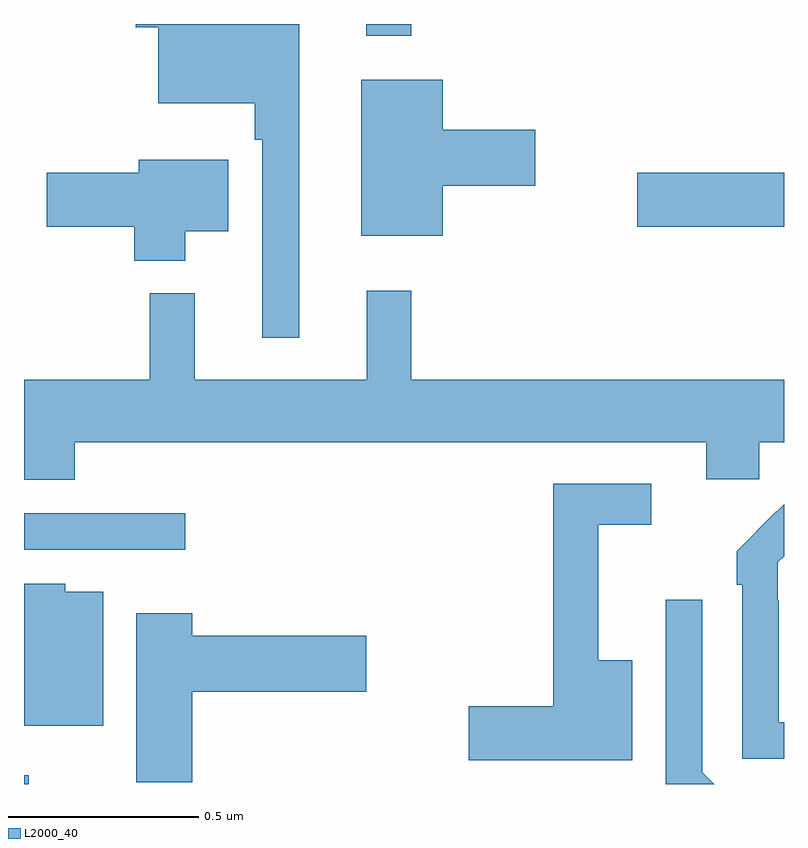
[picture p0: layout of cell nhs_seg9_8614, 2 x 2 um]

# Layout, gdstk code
import gdstk
lib = gdstk.Library(unit=1e-6, precision=1e-09)
def R(c, l, rs):  # rectangles x0, y0, x1, y1
    for r in rs: c.add(gdstk.rectangle(r[:2], r[2:], *l))
def P(c, l, *ps):  # polygons
    for p in ps: c.add(gdstk.Polygon(p, *l))
L2000_40 = (2000, 40)

nhs_seg9_8614 = lib.new_cell('nhs_seg9_8614')
R(nhs_seg9_8614, L2000_40, [(219,1215.5,219.013,1215.523), (219,1216.116,219.424,1216.212), (220.614,1216.966,221,1217.108), (219.901,1217.469,220.019,1217.5)])
P(nhs_seg9_8614, L2000_40, [(219.724,1217.5),(219.294,1217.5),(219.294,1217.491),(219.353,1217.491),(219.353,1217.291),(219.607,1217.291),(219.607,1217.195),(219.627,1217.195),(219.627,1216.674),(219.724,1216.674)],
  [(220.102,1217.075),(220.345,1217.075),(220.345,1217.222),(220.102,1217.222),(220.102,1217.353),(219.887,1217.353),(219.887,1216.943),(220.102,1216.943)],
  [(219.424,1216.955),(219.538,1216.955),(219.538,1217.143),(219.302,1217.143),(219.302,1217.108),(219.06,1217.108),(219.06,1216.966),(219.29,1216.966),(219.29,1216.877),(219.424,1216.877)],
  [(219.134,1216.4),(220.796,1216.4),(220.796,1216.302),(220.935,1216.302),(220.935,1216.4),(221,1216.4),(221,1216.564),(220.019,1216.564),(220.019,1216.798),(219.902,1216.798),(219.902,1216.564),(219.449,1216.564),(219.449,1216.792),(219.331,1216.792),(219.331,1216.564),(219,1216.564),(219,1216.301),(219.134,1216.301)],
  [(220.6,1215.826),(220.511,1215.826),(220.511,1216.182),(220.651,1216.182),(220.651,1216.29),(220.393,1216.29),(220.393,1215.704),(220.17,1215.704),(220.17,1215.562),(220.6,1215.562)],
  [(221,1215.663),(220.986,1215.663),(220.986,1215.983),(220.983,1215.983),(220.983,1216.083),(221,1216.1),(221,1216.236),(220.981,1216.217),(220.98,1216.218),(220.875,1216.113),(220.875,1216.025),(220.89,1216.025),(220.89,1215.567),(221,1215.567)],
  [(219.208,1216.006),(219.108,1216.006),(219.108,1216.027),(219,1216.027),(219,1215.653),(219.208,1215.653)],
  [(220.785,1215.531),(220.785,1215.985),(220.689,1215.985),(220.689,1215.5),(220.816,1215.5)],
  [(219.443,1215.743),(219.901,1215.743),(219.901,1215.89),(219.443,1215.89),(219.443,1215.949),(219.296,1215.949),(219.296,1215.505),(219.443,1215.505)])

lib.write_gds('nhs_seg9_8614.gds')
